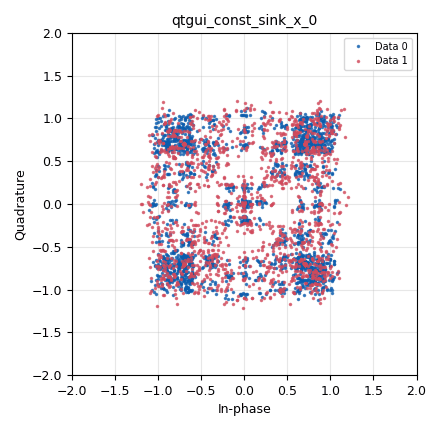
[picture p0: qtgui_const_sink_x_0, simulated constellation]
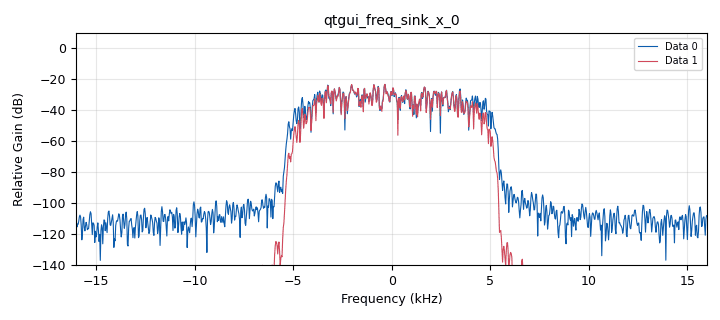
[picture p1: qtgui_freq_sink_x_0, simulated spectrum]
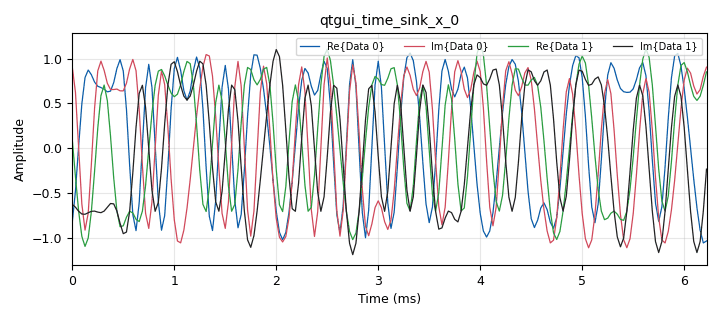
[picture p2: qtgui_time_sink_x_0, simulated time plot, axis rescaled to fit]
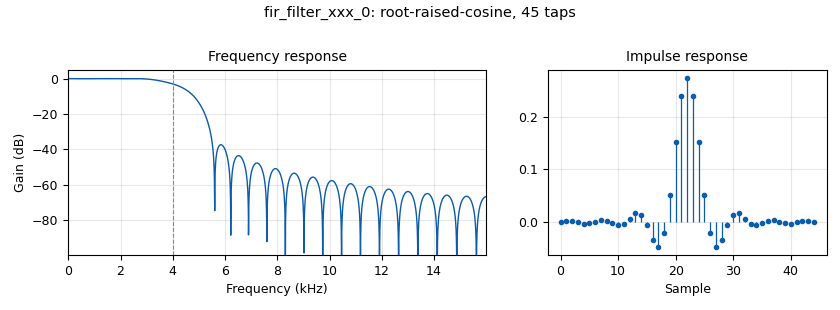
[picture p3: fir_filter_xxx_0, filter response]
options:
  parameters:
    author: engineerang
    generate_options: qt_gui
    id: p1_mpsk_stage1
    output_language: python
    title: Not titled yet
  states: {}

blocks:
- name: arity
  id: variable
  parameters:
    value: '4'
  states: {}
- name: excess_bw
  id: variable
  parameters:
    value: '00.35'
  states: {}
- name: rrc_taps
  id: variable
  parameters:
    value: firdes.root_raised_cosine(1.0,samp_rate,samp_rate/sps,excess_bw,11*sps)
  states: {}
- name: samp_rate
  id: variable
  parameters:
    value: '32000'
  states: {}
- name: sps
  id: variable
  parameters:
    value: '4'
  states: {}
- name: variable_constellation_rect_0
  id: variable_constellation_rect
  parameters:
    const_points: '[-0.707-0.707j, -0.707+0.707j, 0.707+0.707j, 0.707-0.707j]'
    imag_sect: '2'
    real_sect: '2'
    rot_sym: '4'
    sym_map: '[0, 1, 2, 3]'
    w_imag_sect: '1'
    w_real_sect: '1'
  states: {}
- name: analog_random_source_x_0
  id: analog_random_source_x
  parameters:
    max: '256'
    min: '0'
    num_samps: '10000'
    repeat: 'True'
    type: byte
  states: {}
- name: blocks_throttle_0
  id: blocks_throttle
  parameters:
    samples_per_second: samp_rate
    type: complex
  states: {}
- name: digital_constellation_modulator_0
  id: digital_constellation_modulator
  parameters:
    constellation: variable_constellation_rect_0
    differential: 'False'
    excess_bw: excess_bw
    samples_per_symbol: '4'
  states: {}
- name: fir_filter_xxx_0
  id: fir_filter_xxx
  parameters:
    decim: '1'
    taps: rrc_taps
    type: ccc
  states: {}
- name: qtgui_const_sink_x_0
  id: qtgui_const_sink_x
  parameters:
    nconnections: '2'
    size: '2048'
    type: complex
  states: {}
- name: qtgui_freq_sink_x_0
  id: qtgui_freq_sink_x
  parameters:
    bw: samp_rate
    fc: '0'
    fftsize: '1024'
    nconnections: '2'
    type: complex
  states: {}
- name: qtgui_time_sink_x_0
  id: qtgui_time_sink_x
  parameters:
    nconnections: '2'
    size: '200'
    srate: samp_rate
    type: complex
  states: {}

connections:
- [analog_random_source_x_0, '0', digital_constellation_modulator_0, '0']
- [blocks_throttle_0, '0', fir_filter_xxx_0, '0']
- [blocks_throttle_0, '0', qtgui_const_sink_x_0, '0']
- [blocks_throttle_0, '0', qtgui_freq_sink_x_0, '0']
- [blocks_throttle_0, '0', qtgui_time_sink_x_0, '0']
- [digital_constellation_modulator_0, '0', blocks_throttle_0, '0']
- [fir_filter_xxx_0, '0', qtgui_const_sink_x_0, '1']
- [fir_filter_xxx_0, '0', qtgui_freq_sink_x_0, '1']
- [fir_filter_xxx_0, '0', qtgui_time_sink_x_0, '1']

metadata:
  file_format: 1
